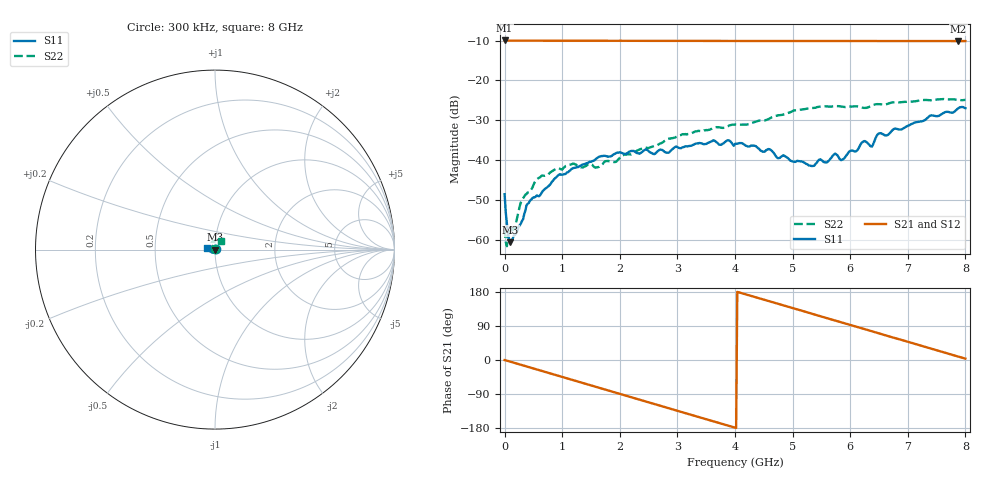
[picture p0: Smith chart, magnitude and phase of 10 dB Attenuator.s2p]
#  HZ  S  DB  R  50.00
! Rohde & Schwarz Vector Network Analyzer
! Rohde-Schwarz,ZNB8-4Port,1311601044101761,1.95
! Created: UTC 2/19/2014, 9:16:25 AM
! freq[Hz]  db:S11  ang:S11  db:S21  ang:S21  db:S12  ang:S12  db:S22  ang:S22
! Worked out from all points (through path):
!   401 points, 300 kHz to 8 GHz, reference 50 ohm
!   highest |S21| = -9.97 dB at 300 kHz (marker M1); lowest = -10.1 dB at 7.88 GHz (marker M2)
!   group delay of S21, straight-line fit = 124 ps
!   lowest |S11| = -60.6 dB at 100.3 MHz (marker M3), VSWR 1.00, Z = 50 - j0.0904 ohm
!   |S11| at or under -10 dB: start of sweep to end of sweep
!   |S22| runs from -61.5 to -24.7 dB; largest |S21 - S12| = 0.0062
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300000  -48.51 30.1  -9.97 -0.2  -9.97 -0.2  -57.25 27.1
6.029775e7  -58.38 -56.5  -10.01 -2.6  -10.03 -2.6  -58.71 -14.7
1.002962e8  -60.60 -75.3  -10.02 -4.4  -10.04 -4.4  -56.69 -30.2
1.802932e8  -58.71 -110.2  -10.02 -8.0  -10.04 -7.9  -57.04 -80.1
3.20288e8  -54.82 -123.7  -10.02 -14.3  -10.04 -14.2  -49.58 -117.3
4.202842e8  -50.71 -122.6  -10.02 -18.7  -10.04 -18.7  -48.01 -137.1
5.802782e8  -48.97 -111.8  -10.03 -25.9  -10.05 -25.8  -44.55 -149.8
9.202655e8  -43.89 -124.4  -10.03 -41.1  -10.06 -41.0  -41.99 -172.3
1.34025e9  -41.16 -139.9  -10.04 -59.9  -10.07 -59.7  -41.77 174.3
1.980226e9  -38.08 -169.9  -10.05 -88.4  -10.07 -88.1  -39.68 177.5
2.6802e9  -37.51 144.8  -10.07 -119.7  -10.09 -119.1  -35.94 167.6
3.620164e9  -35.01 107.8  -10.09 -161.7  -10.10 -160.8  -31.91 132.0
4.00015e9  -35.88 87.8  -10.09 -178.4  -10.09 -177.8  -31.04 128.1
5.3401e9  -41.44 -22.7  -10.10 122.0  -10.10 122.6  -26.91 110.7
5.740085e9  -38.33 -62.4  -10.09 104.0  -10.10 104.9  -26.47 102.1
5.86008e9  -39.87 -78.1  -10.11 98.7  -10.10 99.5  -26.58 100.1
6.220067e9  -35.39 -109.3  -10.10 82.9  -10.11 83.4  -26.84 96.8
6.360062e9  -36.53 -117.6  -10.10 76.5  -10.11 77.3  -26.38 92.0
6.500056e9  -33.25 -130.5  -10.11 70.2  -10.11 71.0  -25.95 93.7
6.68005e9  -33.32 -141.3  -10.11 62.1  -10.11 63.2  -25.70 89.1
7.880004e9  -26.94 165.3  -10.14 8.9  -10.14 9.5  -24.86 59.8
8e9  -26.94 166.6  -10.12 3.6  -10.13 4.3  -24.85 55.6
